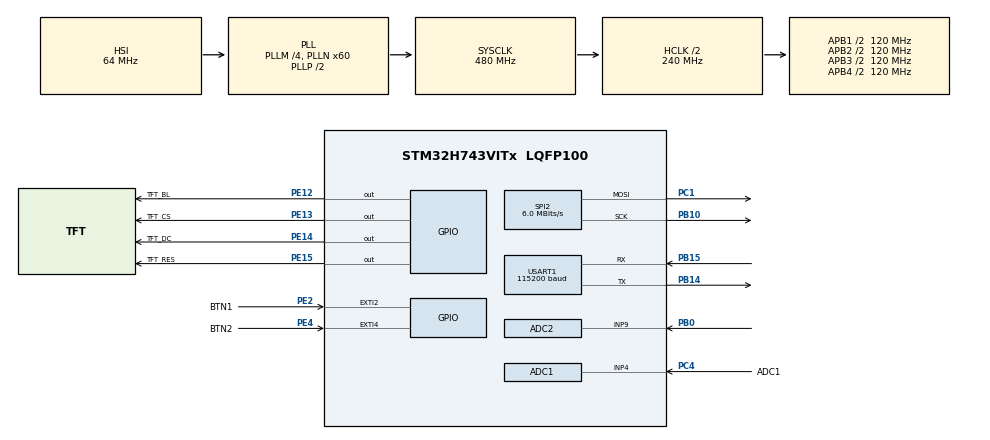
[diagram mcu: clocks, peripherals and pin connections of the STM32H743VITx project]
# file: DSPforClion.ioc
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ADC1.Channel-0\#ChannelRegularConversion=ADC_CHANNEL_4
ADC1.ClockPrescaler=ADC_CLOCK_ASYNC_DIV1
ADC1.ContinuousConvMode=DISABLE
ADC1.ConversionDataManagement=ADC_CONVERSIONDATA_DMA_CIRCULAR
ADC1.ExternalTrigConv=ADC_EXTERNALTRIG_T6_TRGO
ADC1.NbrOfConversionFlag=1
ADC1.OffsetNumber-0\#ChannelRegularConversion=ADC_OFFSET_NONE
ADC1.OffsetSignedSaturation-0\#ChannelRegularConversion=DISABLE
ADC1.Rank-0\#ChannelRegularConversion=1
ADC1.Resolution=ADC_RESOLUTION_12B
ADC1.SamplingTime-0\#ChannelRegularConversion=ADC_SAMPLETIME_16CYCLES_5
ADC1.master=1
ADC2.Channel-3\#ChannelRegularConversion=ADC_CHANNEL_9
ADC2.ContinuousConvMode=DISABLE
ADC2.ConversionDataManagement=ADC_CONVERSIONDATA_DMA_CIRCULAR
ADC2.ExternalTrigConv=ADC_EXTERNALTRIG_T6_TRGO
ADC2.NbrOfConversionFlag=1
ADC2.OffsetSignedSaturation-3\#ChannelRegularConversion=DISABLE
ADC2.Resolution=ADC_RESOLUTION_12B
ADC2.SamplingTime-3\#ChannelRegularConversion=ADC_SAMPLETIME_16CYCLES_5
CORTEX_M7.default_mode_Activation=1
Dma.ADC1.0.Direction=DMA_PERIPH_TO_MEMORY
Dma.ADC1.0.EventEnable=DISABLE
Dma.ADC1.0.FIFOMode=DMA_FIFOMODE_DISABLE
Dma.ADC1.0.Instance=DMA1_Stream1
Dma.ADC1.0.MemDataAlignment=DMA_MDATAALIGN_HALFWORD
Dma.ADC1.0.MemInc=DMA_MINC_ENABLE
Dma.ADC1.0.Mode=DMA_CIRCULAR
Dma.ADC1.0.PeriphDataAlignment=DMA_PDATAALIGN_HALFWORD
Dma.ADC1.0.PeriphInc=DMA_PINC_DISABLE
Dma.ADC1.0.Polarity=HAL_DMAMUX_REQ_GEN_RISING
Dma.ADC1.0.Priority=DMA_PRIORITY_LOW
Dma.ADC1.0.RequestNumber=1
Dma.ADC1.0.SignalID=NONE
Dma.ADC1.0.SyncEnable=DISABLE
Dma.ADC1.0.SyncPolarity=HAL_DMAMUX_SYNC_NO_EVENT
Dma.ADC1.0.SyncRequestNumber=1
Dma.ADC1.0.SyncSignalID=NONE
Dma.ADC2.2.Direction=DMA_PERIPH_TO_MEMORY
Dma.ADC2.2.EventEnable=DISABLE
Dma.ADC2.2.FIFOMode=DMA_FIFOMODE_DISABLE
Dma.ADC2.2.Instance=DMA1_Stream0
Dma.ADC2.2.MemDataAlignment=DMA_MDATAALIGN_HALFWORD
Dma.ADC2.2.MemInc=DMA_MINC_ENABLE
Dma.ADC2.2.Mode=DMA_CIRCULAR
Dma.ADC2.2.PeriphDataAlignment=DMA_PDATAALIGN_HALFWORD
Dma.ADC2.2.PeriphInc=DMA_PINC_DISABLE
Dma.ADC2.2.Polarity=HAL_DMAMUX_REQ_GEN_RISING
Dma.ADC2.2.Priority=DMA_PRIORITY_LOW
Dma.ADC2.2.RequestNumber=1
Dma.ADC2.2.SignalID=NONE
Dma.ADC2.2.SyncEnable=DISABLE
Dma.ADC2.2.SyncPolarity=HAL_DMAMUX_SYNC_NO_EVENT
Dma.ADC2.2.SyncRequestNumber=1
Dma.ADC2.2.SyncSignalID=NONE
Dma.Request0=ADC1
Dma.Request1=USART1_TX
Dma.Request2=ADC2
Dma.Request3=SPI2_TX
Dma.SPI2_TX.3.Direction=DMA_MEMORY_TO_PERIPH
Dma.SPI2_TX.3.EventEnable=DISABLE
Dma.SPI2_TX.3.FIFOMode=DMA_FIFOMODE_DISABLE
Dma.SPI2_TX.3.Instance=DMA1_Stream3
Dma.SPI2_TX.3.MemDataAlignment=DMA_MDATAALIGN_BYTE
Dma.SPI2_TX.3.MemInc=DMA_MINC_ENABLE
Dma.SPI2_TX.3.Mode=DMA_NORMAL
Dma.SPI2_TX.3.PeriphDataAlignment=DMA_PDATAALIGN_BYTE
Dma.SPI2_TX.3.PeriphInc=DMA_PINC_DISABLE
Dma.SPI2_TX.3.Polarity=HAL_DMAMUX_REQ_GEN_RISING
Dma.SPI2_TX.3.Priority=DMA_PRIORITY_HIGH
Dma.SPI2_TX.3.RequestNumber=1
Dma.SPI2_TX.3.SignalID=NONE
Dma.SPI2_TX.3.SyncEnable=DISABLE
Dma.SPI2_TX.3.SyncPolarity=HAL_DMAMUX_SYNC_NO_EVENT
Dma.SPI2_TX.3.SyncRequestNumber=1
Dma.SPI2_TX.3.SyncSignalID=NONE
Dma.USART1_TX.1.Direction=DMA_MEMORY_TO_PERIPH
Dma.USART1_TX.1.EventEnable=DISABLE
Dma.USART1_TX.1.FIFOMode=DMA_FIFOMODE_DISABLE
Dma.USART1_TX.1.Instance=DMA1_Stream2
Dma.USART1_TX.1.MemDataAlignment=DMA_MDATAALIGN_BYTE
Dma.USART1_TX.1.MemInc=DMA_MINC_ENABLE
Dma.USART1_TX.1.Mode=DMA_CIRCULAR
Dma.USART1_TX.1.PeriphDataAlignment=DMA_PDATAALIGN_BYTE
Dma.USART1_TX.1.PeriphInc=DMA_PINC_DISABLE
Dma.USART1_TX.1.Polarity=HAL_DMAMUX_REQ_GEN_RISING
Dma.USART1_TX.1.Priority=DMA_PRIORITY_LOW
Dma.USART1_TX.1.RequestNumber=1
Dma.USART1_TX.1.SignalID=NONE
Dma.USART1_TX.1.SyncEnable=DISABLE
Dma.USART1_TX.1.SyncPolarity=HAL_DMAMUX_SYNC_NO_EVENT
Dma.USART1_TX.1.SyncRequestNumber=1
Dma.USART1_TX.1.SyncSignalID=NONE
Mcu.Family=STM32H7
Mcu.Name=STM32H743VITx
Mcu.Package=LQFP100
NVIC.DMA1_Stream0_IRQn=true\:0\:0\:false\:false\:true\:false\:true\:true
NVIC.DMA1_Stream1_IRQn=true\:0\:0\:false\:false\:true\:false\:true\:true
NVIC.DMA1_Stream2_IRQn=true\:0\:0\:false\:false\:true\:false\:true\:true
NVIC.DMA1_Stream3_IRQn=true\:0\:0\:false\:false\:true\:false\:true\:true
NVIC.PriorityGroup=NVIC_PRIORITYGROUP_4
NVIC.SPI2_IRQn=true\:0\:0\:false\:false\:true\:false\:true\:true
NVIC.TIM3_IRQn=true\:0\:0\:false\:false\:true\:true\:true\:true
NVIC.USART1_IRQn=true\:0\:0\:false\:false\:true\:true\:true\:true
PA13\ (JTMS/SWDIO).Mode=Serial_Wire
PA13\ (JTMS/SWDIO).Signal=DEBUG_JTMS-SWDIO
PA14\ (JTCK/SWCLK).Mode=Serial_Wire
PA14\ (JTCK/SWCLK).Signal=DEBUG_JTCK-SWCLK
PB0.GPIO_Mode=GPIO_MODE_ANALOG
PB0.GPIO_PuPd=GPIO_NOPULL
PB0.Signal=ADCx_INP9
PB10.Mode=TX_Only_Simplex_Unidirect_Master
PB10.Signal=SPI2_SCK
PB14.Mode=Asynchronous
PB14.Signal=USART1_TX
PB15.Mode=Asynchronous
PB15.Signal=USART1_RX
PC1.Mode=TX_Only_Simplex_Unidirect_Master
PC1.Signal=SPI2_MOSI
PC4.GPIO_Label=ADC1
PC4.Signal=ADCx_INP4
PE12.GPIO_Label=TFT_BL
PE12.Signal=GPIO_Output
PE13.GPIO_Label=TFT_CS
PE13.Signal=GPIO_Output
PE14.GPIO_Label=TFT_DC
PE14.Signal=GPIO_Output
PE15.GPIO_Label=TFT_RES
PE15.Signal=GPIO_Output
PE2.GPIO_Label=BTN1
PE2.Signal=GPXTI2
PE4.GPIO_Label=BTN2
PE4.Signal=GPXTI4
PH0-OSC_IN\ (PH0).Mode=HSE-External-Oscillator
PH0-OSC_IN\ (PH0).Signal=RCC_OSC_IN
PH1-OSC_OUT\ (PH1).Mode=HSE-External-Oscillator
PH1-OSC_OUT\ (PH1).Signal=RCC_OSC_OUT
ProjectManager.HeapSize=0x2000
ProjectManager.StackSize=0x400
ProjectManager.TargetToolchain=STM32CubeIDE
RCC.ADCFreq_Value=80000000
RCC.APB1Freq_Value=120000000
RCC.APB2Freq_Value=120000000
RCC.APB3Freq_Value=120000000
RCC.APB4Freq_Value=120000000
RCC.CortexFreq_Value=480000000
RCC.D1PPRE=RCC_APB3_DIV2
RCC.D2PPRE1=RCC_APB1_DIV2
RCC.D2PPRE2=RCC_APB2_DIV2
RCC.D3PPRE=RCC_APB4_DIV2
RCC.DIVM1=4
RCC.DIVM2=4
RCC.DIVN1=60
RCC.DIVN2=10
RCC.DIVQ1=5
RCC.HCLKFreq_Value=240000000
RCC.HPRE=RCC_HCLK_DIV2
RCC.HSE_VALUE=25000000
RCC.PLL2FRACN=0
RCC.PLL3FRACN=0
RCC.PLLFRACN=0
RCC.SYSCLKFreq_VALUE=480000000
RCC.SYSCLKSource=RCC_SYSCLKSOURCE_PLLCLK
RCC.USBFreq_Value=192000000
SH.ADCx_INP4.0=ADC1_INP4,IN4-Single-Ended
SH.ADCx_INP9.0=ADC2_INP9,IN9-Single-Ended
SPI2.BaudRatePrescaler=SPI_BAUDRATEPRESCALER_32
SPI2.CalculateBaudRate=6.0 MBits/s
SPI2.DataSize=SPI_DATASIZE_8BIT
SPI2.Direction=SPI_DIRECTION_2LINES_TXONLY
SPI2.Mode=SPI_MODE_MASTER
SPI2.VirtualType=VM_MASTER
STMicroelectronics.X-CUBE-ALGOBUILD.1.4.0.LibraryCcDSPOoLibraryJjDSPOoLibrary=true
TIM3.AutoReloadPreload=TIM_AUTORELOAD_PRELOAD_ENABLE
TIM3.Channel-Output\ Compare1\ No\ Output=TIM_CHANNEL_1
TIM3.Period=240-1
TIM3.Prescaler=10-1
TIM6.AutoReloadPreload=TIM_AUTORELOAD_PRELOAD_ENABLE
TIM6.Period=240-1
TIM6.Prescaler=10-1
TIM6.TIM_MasterOutputTrigger=TIM_TRGO_UPDATE
USART1.BaudRate=115200
USART1.Parity=PARITY_NONE
USART1.VirtualMode-Asynchronous=VM_ASYNC
USART1.WordLength=WORDLENGTH_8B
VP_MEMORYMAP_VS_MEMORYMAP.Mode=CurAppReg
VP_STMicroelectronics.X-CUBE-ALGOBUILD_VS_DSPOoLibraryJjLibrary_1.4.0_1.4.0.Mode=DSPOoLibraryJjLibrary
VP_TIM3_VS_ClockSourceINT.Mode=Internal
VP_TIM3_VS_no_output1.Mode=Output Compare1 No Output
VP_TIM6_VS_ClockSourceINT.Mode=Enable_Timer
board=custom

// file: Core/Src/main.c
/* USER CODE BEGIN Header */
  /**
    ******************************************************************************
    * @file           : main.c
    * @brief          : Main program body
    ******************************************************************************
    * @attention
    *
    * Copyright (c) 2025 STMicroelectronics.
    * All rights reserved.
    *
    * This software is licensed under terms that can be found in the LICENSE file
    * in the root directory of this software component.
    * If no LICENSE file comes with this software, it is provided AS-IS.
    *
    ******************************************************************************
    */
/* USER CODE END Header */
#include "main.h"
#include "adc.h"
#include "dma.h"
#include "memorymap.h"
#include "spi.h"
#include "tim.h"
#include "usart.h"
#include "gpio.h"

/* USER CODE BEGIN Includes */
  #include <stdio.h>
  #include <stdlib.h>

  #include "myfft.h"
  #include "fft_phase.h"
  #include "fft_window.h"
  #include "fft_disp.h"
  #include "myfir.h"
  #include "TFTh/TFT_init.h"
  #include "TFTh/TFT_CAD.h" // 包含绘图函数和 IO 函数
  #include "TFTh/TFT_text.h"
  #include "TFTh/TFT_io.h" // 包含RGB转换函数
/* USER CODE END Includes */

/* USER CODE BEGIN PTD */
TFT_HandleTypeDef htft1 ;
/* USER CODE END PTD */

/* USER CODE BEGIN PV */
  #define FFT_LENGTH 8192
  #define ADC_RANGE  4095
  //数字量

  char str1[100];
  char str2[50];
  char str3[50];
  char str4[50];
  char str5[50];
  char str6[50];
  char str7[50];
  char str8[50];
  char str9[50];
  int flag_adcdone;

  uint32_t time_idx;
  float time_float ;
  float fft_input_temp[FFT_LENGTH*2];
  float fft_output_temp[FFT_LENGTH]; //用于存储数组，便于debug直接查看
/* USER CODE END PV */

void SystemClock_Config(void);
void PeriphCommonClock_Config(void);
static void MPU_Config(void);
/* USER CODE BEGIN PFP */
void TFT_Demo_Init(void)
{
  // 初始化第一个TFT屏幕
  TFT_Init_Instance(&htft1, &hspi2, TFT_CS_GPIO_Port, TFT_CS_Pin);
  TFT_Config_Pins(&htft1, TFT_DC_GPIO_Port, TFT_DC_Pin,
                  TFT_RES_GPIO_Port, TFT_RES_Pin,
                  TFT_BL_GPIO_Port, TFT_BL_Pin);
  TFT_Config_Display(&htft1, 3, 0, 0); // 设置方向、X/Y偏移
  TFT_IO_Init(&htft1); // 初始化IO层
  TFT_Init_ST7789v3(&htft1); // ST7735S屏幕初始化
  // 设置不同的缓冲区大小以测试内存管理
  htft1.buffer_size = 2048; // 第一屏使用较大缓冲
  // 初始化帧率计时
  int lastTick = HAL_GetTick();
}

/* USER CODE END PFP */

/* USER CODE BEGIN 0 */
  int fputc(int ch, FILE *f)
  {
    HAL_UART_Transmit_DMA(&huart1, (uint8_t *)&ch,1);
    return ch;
  }
/* USER CODE END 0 */

int main(void)
{

  /* MPU Configuration--------------------------------------------------------*/
  MPU_Config();

  /* MCU Configuration--------------------------------------------------------*/

  /* Reset of all peripherals, Initializes the Flash interface and the Systick. */
  HAL_Init();

  /* Configure the system clock */
  SystemClock_Config();

  /* Configure the peripherals common clocks */
  PeriphCommonClock_Config();

  /* Initialize all configured peripherals */
  MX_GPIO_Init();
  MX_DMA_Init();
  MX_ADC2_Init();
  MX_SPI2_Init();
  MX_ADC1_Init();
  MX_USART1_UART_Init();
  MX_TIM6_Init();
  MX_TIM3_Init();
  /* USER CODE BEGIN 2 */

    HAL_Delay(200);
    //LCD_ST7789V3_Init();
    TFT_Demo_Init();
    HAL_ADCEx_Calibration_Start(&hadc2,LL_ADC_CALIB_LINEARITY,ADC_SINGLE_ENDED);
    HAL_ADCEx_Calibration_Start(&hadc1,LL_ADC_CALIB_LINEARITY,ADC_SINGLE_ENDED);
    HAL_Delay(200);

    FFT_Handler* FFT_Handle = FFT_Handler_Init(FFT_LENGTH);
    FFT_Handler* FFT_Handle2 = FFT_Handler_Init(FFT_LENGTH);
    FFT_Handle->adc_rate = 100000;
    FFT_Handle2->adc_rate = 100000;
    HAL_TIM_Base_Start_IT(&htim3); //TIM5 用于做时间定时
    TFT_Fill_Area(&htft1,0,0,320,240,BLACK);
    TFT_Show_String(&htft1,40,30,"hello wolrd",WHITE,BLACK,16,0);

    HAL_ADC_Start_DMA(&hadc2,FFT_Handle->adc_buf,FFT_LENGTH);
    HAL_ADC_Start_DMA(&hadc1,FFT_Handle2->adc_buf,FFT_LENGTH);
    HAL_TIM_Base_Start(&htim6); //TIM6同步触发两个ADC进行采样

    //LCD_Fill(0,0,320,240,BLACK);
    //FFT Init

  /* USER CODE END 2 */

  /* Infinite loop */
  /* USER CODE BEGIN WHILE */
    while (1)
    {

    /**************************************数组更新**********************************************/

        sprintf(str1,"WAITING FOR ADC     ");
        TFT_Show_String(&htft1,30,30,str1,RED,BLACK,16,0);

        while (flag_adcdone != 1){};         //必须等待数组全部更新完毕 在进入

        sprintf(str1,"SAMPLE READY    ");
        TFT_Show_String(&htft1,30,30,str1,GREEN,BLACK,16,0);

        HAL_TIM_Base_Stop(&htim6);
        HAL_ADC_Stop_DMA(&hadc1);
        HAL_ADC_Stop_DMA(&hadc2);

        for (int i = 0;i<FFT_LENGTH;i++)
        {
          FFT_Handle->adc_val[i] = (float)FFT_Handle->adc_buf[i] /ADC_RANGE * 3.3;
          FFT_Handle2->adc_val[i] = (float)FFT_Handle2->adc_buf[i] /ADC_RANGE * 3.3;
        }
        //----------------------------FIR滤波-------------------------------------
        //fir_calculate(FFT_Handle);

        //----------------------------加窗运算-------------------------------------
        window_calculate(FFT_Handle->adc_val,FFT_LENGTH,1);
        window_calculate(FFT_Handle2->adc_val,FFT_LENGTH,1);

        //----------------------------FFT计算-------------------------------------
        fft_calculate(FFT_Handle);
        fft_calculate(FFT_Handle2);

        //----------------------------双通道相位测量--------------------------------

        float phase = fft_calculate_phase(FFT_Handle,FFT_Handle2);

        //-----------------------------测试用代码-----------------------------------

        float fft_fv = (float)FFT_Handle->fft_fv;
        for (int i = 0;i<FFT_LENGTH;i++)
        {
          fft_output_temp[i] = FFT_Handle->FFT_OutputBuf[i];
        }

        for (int i = 0;i<FFT_LENGTH*2;i++)
        {
          fft_input_temp[i] = FFT_Handle->FFT_InputBuf[i];
        }
      /************************************实验性代码,FFT_OVER2*************************************/

      /************************************显示&&串口发送*******************************************/

        for (int i =0; i < FFT_LENGTH; i++)
        {
          sprintf(str1,"val:%3f,%3f,%3f\r\n",FFT_Handle->adc_val[i],(float)i/1000,fft_output_temp[i]);
          HAL_UART_Transmit_DMA(&huart1,str1,sizeof(str1));
        }
        sprintf(str3, "Freq: %.1f Hz", FFT_Handle->fft_fv);
        TFT_Show_String(&htft1,30, 50, str3 ,WHITE, BLACK, 16, 0);
        // 显示电压有效值
        sprintf(str4, "Vpp: %.5f V DC:%.5fV", FFT_Handle->fft_vpp,FFT_Handle->fft_DC);
        TFT_Show_String(&htft1,30, 70, str4, WHITE, BLACK, 16, 0);

        sprintf(str5,"RMS: %.5f v",FFT_Handle->fft_rms);
        TFT_Show_String(&htft1,30, 90, str5, WHITE, BLACK, 16, 0);

        sprintf(str6, "Phase: %.5f deg",phase);
        TFT_Show_String(&htft1,30, 110, str6, WHITE, BLACK, 16, 0);

        sprintf(str7, "wave: %d  THD:%.2f%%",FFT_Handle->wave,FFT_Handle->fft_thd);
        TFT_Show_String(&htft1,30, 130, str7, WHITE, BLACK, 16, 0);

        //fft_freq_disp(htft1,FFT_Handle,0.1);

        HAL_Delay(500);
        //LCD_Fill(0,0,320,240,BLACK);
        flag_adcdone = 0;
       // TFT_Fill_Area(&htft1,0,0,320,240,BLACK);

    /**********************重新启动ADC******************************/
      HAL_ADC_Start_DMA(&hadc1,FFT_Handle->adc_buf,FFT_LENGTH);
      HAL_ADC_Start_DMA(&hadc2,FFT_Handle2->adc_buf,FFT_LENGTH);
      HAL_TIM_Base_Start(&htim6);

    /* USER CODE END WHILE */

    /* USER CODE BEGIN 3 */

      /*********************************FFT计算部分**************************************/

      /*********************************屏幕显示部分**************************************/
      //fft_freq_disp(FFT_Handle,300);

    }
  /* USER CODE END 3 */
}

void SystemClock_Config(void)
{
  RCC_OscInitTypeDef RCC_OscInitStruct = {0};
  RCC_ClkInitTypeDef RCC_ClkInitStruct = {0};

  /** Supply configuration update enable
  */
  HAL_PWREx_ConfigSupply(PWR_LDO_SUPPLY);

  /** Configure the main internal regulator output voltage
  */
  __HAL_PWR_VOLTAGESCALING_CONFIG(PWR_REGULATOR_VOLTAGE_SCALE0);

  while(!__HAL_PWR_GET_FLAG(PWR_FLAG_VOSRDY)) {}

  /** Initializes the RCC Oscillators according to the specified parameters
  * in the RCC_OscInitTypeDef structure.
  */
  RCC_OscInitStruct.OscillatorType = RCC_OSCILLATORTYPE_HSI;
  RCC_OscInitStruct.HSIState = RCC_HSI_DIV1;
  RCC_OscInitStruct.HSICalibrationValue = RCC_HSICALIBRATION_DEFAULT;
  RCC_OscInitStruct.PLL.PLLState = RCC_PLL_ON;
  RCC_OscInitStruct.PLL.PLLSource = RCC_PLLSOURCE_HSI;
  RCC_OscInitStruct.PLL.PLLM = 4;
  RCC_OscInitStruct.PLL.PLLN = 60;
  RCC_OscInitStruct.PLL.PLLP = 2;
  RCC_OscInitStruct.PLL.PLLQ = 5;
  RCC_OscInitStruct.PLL.PLLR = 2;
  RCC_OscInitStruct.PLL.PLLRGE = RCC_PLL1VCIRANGE_3;
  RCC_OscInitStruct.PLL.PLLVCOSEL = RCC_PLL1VCOWIDE;
  RCC_OscInitStruct.PLL.PLLFRACN = 0;
  if (HAL_RCC_OscConfig(&RCC_OscInitStruct) != HAL_OK)
  {
    Error_Handler();
  }

  /** Initializes the CPU, AHB and APB buses clocks
  */
  RCC_ClkInitStruct.ClockType = RCC_CLOCKTYPE_HCLK|RCC_CLOCKTYPE_SYSCLK
                              |RCC_CLOCKTYPE_PCLK1|RCC_CLOCKTYPE_PCLK2
                              |RCC_CLOCKTYPE_D3PCLK1|RCC_CLOCKTYPE_D1PCLK1;
  RCC_ClkInitStruct.SYSCLKSource = RCC_SYSCLKSOURCE_PLLCLK;
  RCC_ClkInitStruct.SYSCLKDivider = RCC_SYSCLK_DIV1;
  RCC_ClkInitStruct.AHBCLKDivider = RCC_HCLK_DIV2;
  RCC_ClkInitStruct.APB3CLKDivider = RCC_APB3_DIV2;
  RCC_ClkInitStruct.APB1CLKDivider = RCC_APB1_DIV2;
  RCC_ClkInitStruct.APB2CLKDivider = RCC_APB2_DIV2;
  RCC_ClkInitStruct.APB4CLKDivider = RCC_APB4_DIV2;

  if (HAL_RCC_ClockConfig(&RCC_ClkInitStruct, FLASH_LATENCY_4) != HAL_OK)
  {
    Error_Handler();
  }
}

void PeriphCommonClock_Config(void)
{
  RCC_PeriphCLKInitTypeDef PeriphClkInitStruct = {0};

  /** Initializes the peripherals clock
  */
  PeriphClkInitStruct.PeriphClockSelection = RCC_PERIPHCLK_ADC;
  PeriphClkInitStruct.PLL2.PLL2M = 4;
  PeriphClkInitStruct.PLL2.PLL2N = 10;
  PeriphClkInitStruct.PLL2.PLL2P = 2;
  PeriphClkInitStruct.PLL2.PLL2Q = 2;
  PeriphClkInitStruct.PLL2.PLL2R = 2;
  PeriphClkInitStruct.PLL2.PLL2RGE = RCC_PLL2VCIRANGE_3;
  PeriphClkInitStruct.PLL2.PLL2VCOSEL = RCC_PLL2VCOMEDIUM;
  PeriphClkInitStruct.PLL2.PLL2FRACN = 0;
  PeriphClkInitStruct.AdcClockSelection = RCC_ADCCLKSOURCE_PLL2;
  if (HAL_RCCEx_PeriphCLKConfig(&PeriphClkInitStruct) != HAL_OK)
  {
    Error_Handler();
  }
}

/* USER CODE BEGIN 4 */
  //回调函数，采样完毕一次后更新数据
  void HAL_ADC_ConvCpltCallback(ADC_HandleTypeDef* hdac2)
  {
    flag_adcdone = 1;
  }

  void HAL_TIM_PeriodElapsedCallback(TIM_HandleTypeDef* htim)
  {

  }

void HAL_GPIO_EXTI_Callback(uint16_t GPIO_Pin)
  {
    if (GPIO_Pin == BTN1_Pin)
    {

      __HAL_GPIO_EXTI_CLEAR_IT(BTN1_Pin);
    }
  }
/* USER CODE END 4 */

 /* MPU Configuration */

void MPU_Config(void)
{
  MPU_Region_InitTypeDef MPU_InitStruct = {0};

  /* Disables the MPU */
  HAL_MPU_Disable();

  /** Initializes and configures the Region and the memory to be protected
  */
  MPU_InitStruct.Enable = MPU_REGION_ENABLE;
  MPU_InitStruct.Number = MPU_REGION_NUMBER0;
  MPU_InitStruct.BaseAddress = 0x0;
  MPU_InitStruct.Size = MPU_REGION_SIZE_4GB;
  MPU_InitStruct.SubRegionDisable = 0x87;
  MPU_InitStruct.TypeExtField = MPU_TEX_LEVEL0;
  MPU_InitStruct.AccessPermission = MPU_REGION_NO_ACCESS;
  MPU_InitStruct.DisableExec = MPU_INSTRUCTION_ACCESS_DISABLE;
  MPU_InitStruct.IsShareable = MPU_ACCESS_SHAREABLE;
  MPU_InitStruct.IsCacheable = MPU_ACCESS_NOT_CACHEABLE;
  MPU_InitStruct.IsBufferable = MPU_ACCESS_NOT_BUFFERABLE;

  HAL_MPU_ConfigRegion(&MPU_InitStruct);
  /* Enables the MPU */
  HAL_MPU_Enable(MPU_PRIVILEGED_DEFAULT);

}

void Error_Handler(void)
{
    __disable_irq();
    while (1)
    {
    }
}
